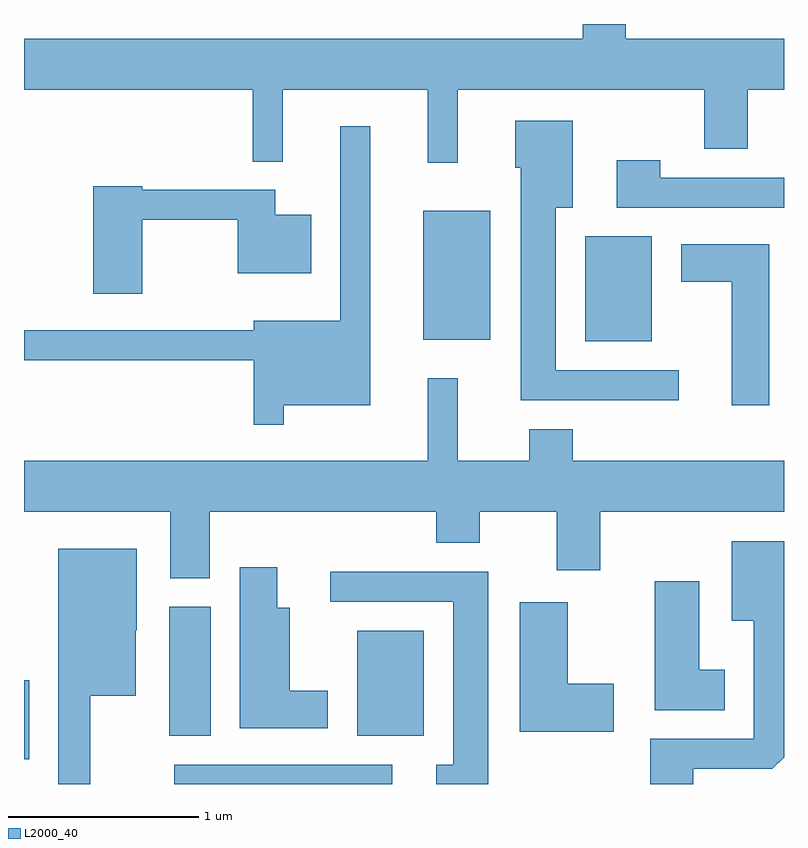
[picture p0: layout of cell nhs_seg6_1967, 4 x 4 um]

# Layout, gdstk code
import gdstk
lib = gdstk.Library(unit=1e-6, precision=1e-09)
def R(c, l, rs):  # rectangles x0, y0, x1, y1
    for r in rs: c.add(gdstk.rectangle(r[:2], r[2:], *l))
def P(c, l, *ps):  # polygons
    for p in ps: c.add(gdstk.Polygon(p, *l))
L2000_40 = (2000, 40)

nhs_seg6_1967 = lib.new_cell('nhs_seg6_1967')
R(nhs_seg6_1967, L2000_40, [(246.401,1544.162,247.549,1544.264), (245.611,1544.291,245.639,1544.709), (246.376,1544.416,246.594,1545.094), (247.366,1544.416,247.714,1544.969), (248.566,1546.491,248.914,1547.044), (247.711,1546.501,248.064,1547.179)])
P(nhs_seg6_1967, L2000_40, [(247.894,1547.816),(249.191,1547.816),(249.191,1547.506),(249.419,1547.506),(249.419,1547.816),(249.611,1547.816),(249.611,1548.084),(248.779,1548.084),(248.779,1548.162),(248.551,1548.162),(248.551,1548.084),(245.611,1548.084),(245.611,1547.816),(246.816,1547.816),(246.816,1547.438),(246.974,1547.438),(246.974,1547.816),(247.736,1547.816),(247.736,1547.433),(247.894,1547.433)],
  [(249.058,1546.339),(248.409,1546.339),(248.409,1547.196),(248.499,1547.196),(248.499,1547.654),(248.196,1547.654),(248.196,1547.406),(248.226,1547.406),(248.226,1546.181),(249.058,1546.181)],
  [(246.979,1546.156),(247.434,1546.156),(247.434,1547.623),(247.276,1547.623),(247.276,1546.599),(246.821,1546.599),(246.821,1546.549),(245.611,1546.549),(245.611,1546.391),(246.821,1546.391),(246.821,1546.053),(246.979,1546.053)],
  [(249.611,1547.354),(248.959,1547.354),(248.959,1547.444),(248.731,1547.444),(248.731,1547.196),(249.611,1547.196)],
  [(246.234,1547.131),(246.736,1547.131),(246.736,1546.851),(247.124,1546.851),(247.124,1547.159),(246.934,1547.159),(246.934,1547.289),(246.234,1547.289),(246.234,1547.309),(245.976,1547.309),(245.976,1546.741),(246.234,1546.741)],
  [(249.534,1547.004),(249.071,1547.004),(249.071,1546.806),(249.336,1546.806),(249.336,1546.156),(249.534,1546.156)],
  [(246.589,1545.596),(247.781,1545.596),(247.781,1545.431),(248.009,1545.431),(248.009,1545.596),(248.416,1545.596),(248.416,1545.286),(248.644,1545.286),(248.644,1545.596),(249.611,1545.596),(249.611,1545.864),(248.499,1545.864),(248.499,1546.029),(248.271,1546.029),(248.271,1545.864),(247.894,1545.864),(247.894,1546.298),(247.736,1546.298),(247.736,1545.864),(245.611,1545.864),(245.611,1545.596),(246.381,1545.596),(246.381,1545.246),(246.589,1545.246)],
  [(249.134,1544.241),(249.549,1544.241),(249.611,1544.304),(249.611,1545.439),(249.336,1545.439),(249.336,1545.021),(249.451,1545.021),(249.451,1544.399),(248.906,1544.399),(248.906,1544.162),(249.134,1544.162)],
  [(245.959,1544.626),(246.199,1544.626),(246.199,1544.97),(246.204,1544.97),(246.204,1545.399),(245.791,1545.399),(245.791,1544.162),(245.959,1544.162)],
  [(247.209,1544.654),(247.009,1544.654),(247.009,1545.089),(246.944,1545.089),(246.944,1545.304),(246.746,1545.304),(246.746,1544.456),(247.209,1544.456)],
  [(248.054,1545.279),(247.223,1545.279),(247.223,1545.121),(247.871,1545.121),(247.871,1544.264),(247.781,1544.264),(247.781,1544.162),(248.054,1544.162)],
  [(249.299,1544.764),(249.164,1544.764),(249.164,1545.229),(248.931,1545.229),(248.931,1544.551),(249.299,1544.551)],
  [(248.714,1544.689),(248.474,1544.689),(248.474,1545.119),(248.221,1545.119),(248.221,1544.436),(248.714,1544.436)])

lib.write_gds('nhs_seg6_1967.gds')
